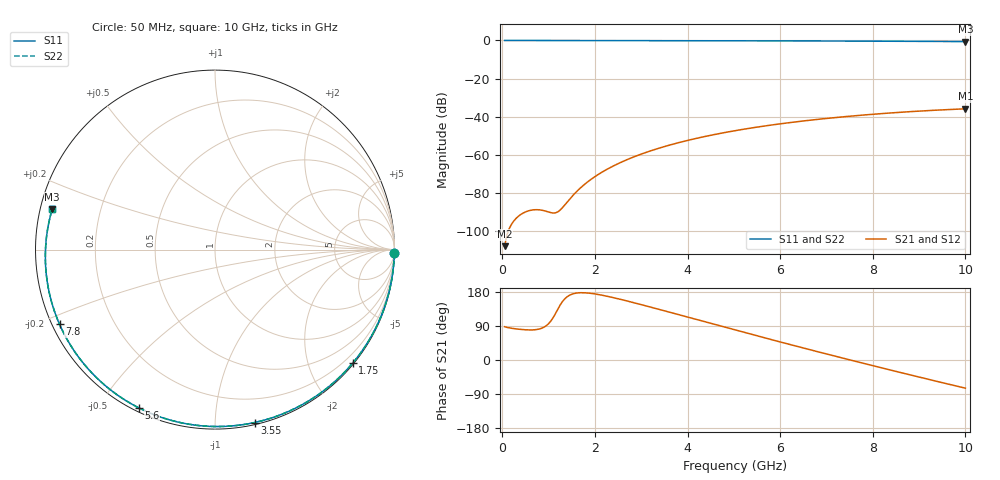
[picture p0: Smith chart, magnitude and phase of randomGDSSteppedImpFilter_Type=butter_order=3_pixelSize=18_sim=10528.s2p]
! freq	dB(S11)	phase(S11)	dB(S12)	phase(S12)
!  dB(S21)	phase(S21)	dB(S22)	phase(S22)
!S-par simulation data
#  GHz  S  DB  R 50
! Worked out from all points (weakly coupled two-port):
!   200 points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, 50 MHz to 10 GHz, reference 50 ohm
!   highest |S21| = -35.80 dB at 10 GHz (marker M1); lowest = -107.7 dB at 50 MHz (marker M2)
!   lowest |S11| = -0.6 dB at 10 GHz (marker M3), VSWR 29.56, Z = 1.72 + j6.15 ohm
!   |S11| at or under -10 dB: nowhere
!   |S22| runs from -0.6 to 0.0 dB; largest |S21 - S12| = 0
!   S11 on the Smith chart (normalised r, x): 50 MHz: open; 1.75 GHz: 0.03, -2.79; 3.55 GHz: 0.02, -1.26; 5.6 GHz: 0.02, -0.63; 7.8 GHz: 0.02, -0.23; 10 GHz: 0.03, +0.12
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0.05  -0.00 -1.1  -107.70 87.8  -107.70 87.8  -0.00 -1.1
0.45  -0.02 -10.3  -90.37 80.2  -90.37 80.2  -0.02 -10.3
0.8  -0.02 -18.3  -88.68 81.9  -88.68 81.9  -0.02 -18.3
1.55  -0.04 -35.0  -80.47 175.4  -80.47 175.4  -0.04 -35.1
1.6  -0.05 -36.1  -79.22 176.6  -79.22 176.6  -0.05 -36.2
1.75  -0.05 -39.4  -75.87 177.5  -75.87 177.5  -0.05 -39.4
2.05  -0.06 -46.0  -70.50 173.3  -70.50 173.3  -0.06 -46.0
2.25  -0.06 -50.2  -67.60 168.6  -67.60 168.6  -0.06 -50.3
2.45  -0.07 -54.5  -65.09 163.1  -65.09 163.1  -0.07 -54.5
2.9  -0.08 -63.9  -60.40 149.3  -60.40 149.3  -0.08 -63.9
3.4  -0.10 -74.1  -56.28 133.1  -56.28 133.1  -0.10 -74.1
3.55  -0.10 -77.1  -55.21 128.2  -55.21 128.2  -0.10 -77.1
4.3  -0.13 -91.7  -50.67 103.3  -50.67 103.3  -0.13 -91.7
5.05  -0.16 -105.8  -47.14 78.5  -47.14 78.5  -0.16 -105.8
5.6  -0.19 -115.8  -45.01 60.5  -45.01 60.5  -0.19 -115.8
6.15  -0.22 -125.6  -43.18 42.8  -43.18 42.8  -0.22 -125.6
6.7  -0.26 -135.2  -41.60 25.4  -41.60 25.4  -0.26 -135.3
7.25  -0.30 -144.8  -40.23 8.2  -40.23 8.2  -0.30 -144.8
7.8  -0.35 -154.3  -39.04 -8.8  -39.04 -8.8  -0.35 -154.4
8.35  -0.40 -164.0  -38.01 -25.6  -38.01 -25.6  -0.40 -164.0
9.2  -0.49 -179.1  -36.71 -51.0  -36.71 -51.0  -0.49 -179.2
10  -0.59 166.0  -35.80 -74.3  -35.80 -74.3  -0.59 165.9
